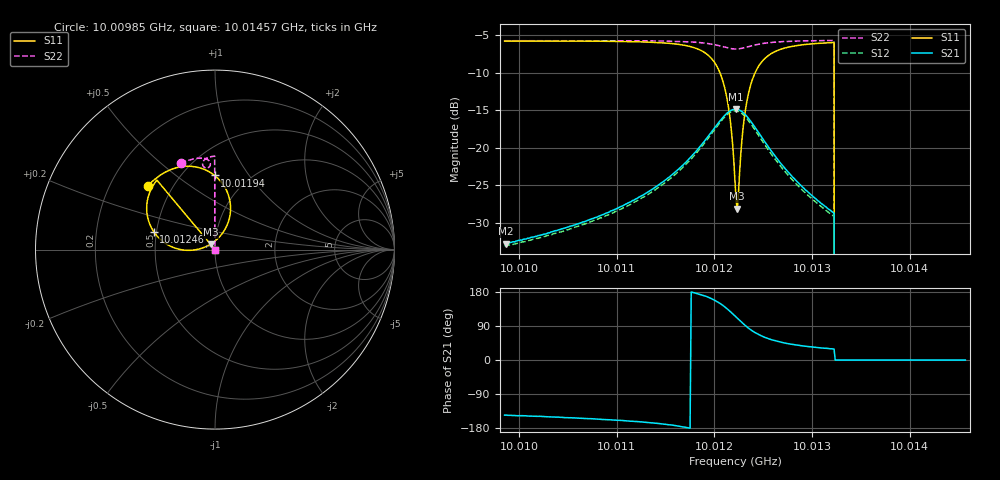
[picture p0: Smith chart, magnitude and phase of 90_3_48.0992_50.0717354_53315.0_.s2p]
#  HZ  S  RI  R  50.00
! Rohde & Schwarz Vector Network Analyzer
! Rohde-Schwarz,ZNB20-2Port,1311601062101988,3.16
! Created: UTC 12/23/2023, 3:43:40 AM
! freq[Hz]  re:S11  im:S11  re:S21  im:S21  re:S12  im:S12  re:S22  im:S22
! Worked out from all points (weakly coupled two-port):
!   401 points, 10.00985 GHz to 10.01457 GHz, reference 50 ohm
!   highest |S21| = -14.84 dB at 10.01222 GHz (marker M1); lowest = -32.8 dB at 10.00986 GHz (marker M2)
!   lowest |S11| = -28.1 dB at 10.01224 GHz (marker M3), VSWR 1.08, Z = 47.5 + j2.87 ohm
!   |S11| at or under -10 dB: 10.01206 GHz to 10.01242 GHz (358.9 kHz wide, 0.00359 % of centre); 10.01323 GHz to end of sweep
!   |S22| runs from - to -5.7 dB; largest |S21 - S12| = 0.0087
!   S11 on the Smith chart (normalised r, x): 10.00985 GHz: 0.36, +0.35; 10.01194 GHz: 0.71, +0.70; 10.01246 GHz: 0.48, +0.11; 10.01457 GHz: 1.00, +0.00
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1.0009852e10  -0.3731 0.3562  -0.0189 -0.013  -0.0176 -0.0133  -0.1906 0.4823
1.0009864e10  -0.3726 0.3569  -0.0189 -0.0129  -0.0178 -0.0134  -0.1897 0.4824
1.0010642e10  -0.3176 0.4058  -0.0285 -0.014  -0.0267 -0.0149  -0.1401 0.4999
1.0011433e10  -0.2121 0.4569  -0.0554 -0.0121  -0.0528 -0.0142  -0.0823 0.51
1.001194e10  -0.00203 0.4131  -0.1159 0.0301  -0.1142 0.0232  -0.0335 0.4952
1.0012046e10  0.0677 0.3224  -0.1295 0.0715  -0.1298 0.063  -0.0261 0.4802
1.0012117e10  0.0864 0.2174  -0.1246 0.1115  -0.1263 0.1037  -0.0278 0.4671
1.0012164e10  0.0667 0.1345  -0.1078 0.1404  -0.1111 0.1326  -0.0339 0.459
1.0012211e10  0.0129 0.0589  -0.0793 0.1627  -0.0831 0.1558  -0.0435 0.4546
1.0012223e10  -0.0054 0.0435  -0.0711 0.1665  -0.075 0.1598  -0.0461 0.4543
1.0012235e10  -0.025 0.0301  -0.0625 0.1693  -0.066 0.1631  -0.0488 0.4545
1.0012247e10  -0.046 0.0186  -0.0539 0.1714  -0.0573 0.1653  -0.0515 0.4546
1.0012294e10  -0.1352 -0.00391  -0.0182 0.171  -0.0226 0.165  -0.0609 0.4596
1.0012329e10  -0.198 0.00134  0.00506 0.1632  0.000245 0.1575  -0.0656 0.465
1.0012388e10  -0.2815 0.0385  0.033 0.1417  0.0268 0.1373  -0.0689 0.4759
1.0012459e10  -0.3412 0.0997  0.0495 0.1143  0.044 0.111  -0.067 0.4876
1.0012648e10  -0.3806 0.2337  0.0545 0.0634  0.0496 0.0624  -0.0513 0.5065
1.0013002e10  -0.3485 0.3505  0.0394 0.027  0.0364 0.0273  -0.0198 0.5181
1.0013203e10  -0.3265 0.3837  0.0327 0.0186  0.0302 0.0192  -0.00368 0.5203
1.0013262e10  0 0  0 0  0 0  0 0
1.0013792e10  0 0  0 0  0 0  0 0
1.0014571e10  0 0  0 0  0 0  0 0
